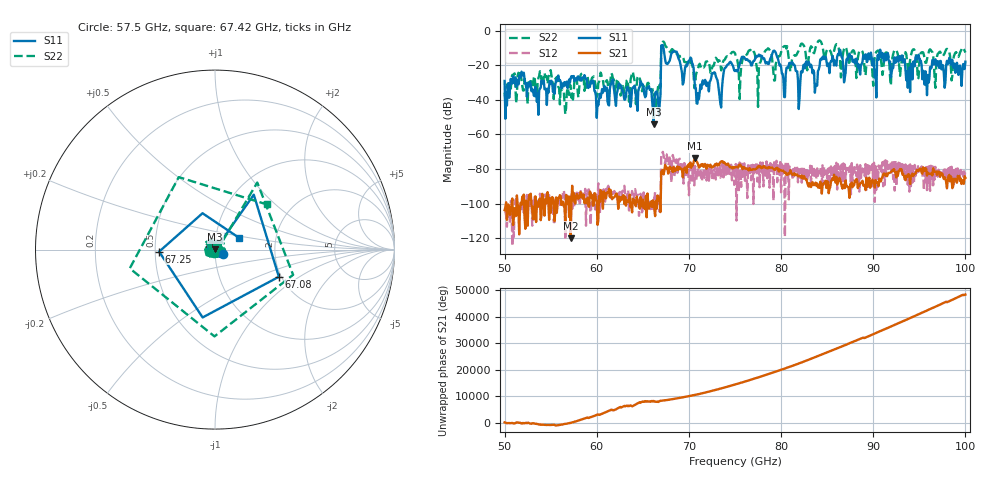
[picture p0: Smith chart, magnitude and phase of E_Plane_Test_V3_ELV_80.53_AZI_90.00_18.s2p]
! 11/26/2026 4:11:26 PM
! C:\ANRITSUVNA\TEMP\TEMP.S2P
! CHANNEL.1
! TR.MEASUREMENT
! RAW.DATA
# HZ S RI R 50.0
! FREQ.HZ  S11RE  S11IM  S21RE  S21IM  S12RE  S12IM  S22RE  S22IM
!; PortSelection: Port_12
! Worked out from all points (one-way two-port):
!   601 points, 50 GHz to 100 GHz, reference 50 ohm
!   highest |S21| = -73.80 dB at 70.67 GHz (marker M1); lowest = -120.1 dB at 57.17 GHz (marker M2)
!   lowest |S11| = -54.0 dB at 66.17 GHz (marker M3), VSWR 1.00, Z = 50.1 + j0.144 ohm
!   |S11| at or under -10 dB: start of sweep to 67 GHz; 67.24 GHz to end of sweep
!   |S22| runs from -48.2 to -5.6 dB; largest |S21 - S12| = 0.00037
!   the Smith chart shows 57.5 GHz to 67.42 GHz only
!   S11 on the Smith chart (normalised r, x): 57.5 GHz: 1.09, -0.05; 67.08 GHz: 1.94, -0.69; 67.25 GHz: 0.52, -0.01; 67.42 GHz: 1.29, +0.18
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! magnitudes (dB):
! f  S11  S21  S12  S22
! 50 GHz  -29.0  -103.8  -104.3  -35.8
! 51.67 GHz  -26.3  -103.6  -102.1  -23.3
! 53.42 GHz  -34.8  -110.7  -104.8  -35.4
! 57.17 GHz  -27.5  -120.1  -98.0  -31.8
! 57.5 GHz  -26.2  -93.9  -98.7  -34.7
! 58.42 GHz  -27.1  -96.5  -94.3  -24.7
! 60.17 GHz  -43.1  -109.7  -88.3  -30.4
! 66.17 GHz  -54.0  -99.6  -96.8  -34.0
! 66.67 GHz  -41.5  -95.7  -99.0  -31.7
! 67.08 GHz  -8.3  -81.0  -71.7  -6.8
! 67.25 GHz  -10.1  -83.1  -72.3  -6.3
! 67.42 GHz  -16.6  -77.6  -77.4  -8.3
! 70.17 GHz  -15.5  -76.2  -78.7  -18.6
! 70.67 GHz  -33.1  -73.8  -78.2  -33.2
! 75 GHz  -23.3  -79.0  -78.5  -13.0
! 79.25 GHz  -11.5  -80.3  -76.1  -28.8
! 80.25 GHz  -28.0  -81.0  -82.6  -9.3
! 83.42 GHz  -24.6  -87.7  -85.3  -10.8
! 91.67 GHz  -16.8  -82.3  -76.7  -15.2
! 94.83 GHz  -15.0  -81.1  -77.8  -27.9
! 95.83 GHz  -37.3  -83.7  -92.2  -16.5
! 100 GHz  -17.9  -85.2  -80.9  -12.6
